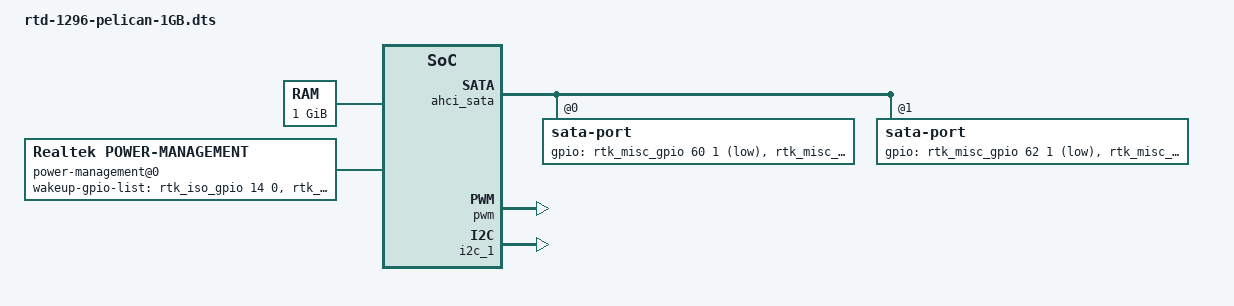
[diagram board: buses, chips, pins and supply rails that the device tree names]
/dts-v1/;
#include <dt-bindings/soc/rtd129x,memory.h>

/* 0x00000000 ~ 0x0002ffff */
/memreserve/ SYS_BOOTCODE_MEMBASE SYS_BOOTCODE_MEMSIZE;
/* 0x0001f000 ~ 0x0001ffff */
/memreserve/ RPC_COMM_PHYS RPC_COMM_SIZE;
/* 0x01b00000 ~ 0x01efffff for ACPU FIRMWARE */
/memreserve/ ACPU_FIREWARE_PHYS ACPU_FIREWARE_SIZE;
/* 0x01ffe000 ~ 0x02001fff */
/memreserve/ RPC_RINGBUF_PHYS	 RPC_RINGBUF_SIZE;
/* 0x02200000 ~ 0x025fffff */
/memreserve/ ROOTFS_NORMAL_START ROOTFS_NORMAL_SIZE;
/* 0x02600000 ~ 0x031fffff */
/memreserve/ ION_AUDIO_HEAP_PHYS ION_AUDIO_HEAP_SIZE;
/* 0x03200000 ~ 0x0e9fffff */
/memreserve/ ION_MEDIA_HEAP_PHYS1  ION_MEDIA_HEAP_SIZE1;
/* 0x10000000 ~ 0x10013fff */
/memreserve/ ACPU_IDMEM_PHYS ACPU_IDMEM_SIZE;
/* 0x11000000 ~ 0x181fffff */
/memreserve/ ION_MEDIA_HEAP_PHYS2 ION_MEDIA_HEAP_SIZE2;
/* 0x22000000 ~ 0x00200000 */
/memreserve/ PSTORE_MEM_PHYS PSTORE_MEM_SIZE;

#include "rtd-1296-saola-common.dtsi"

/ {
	chosen {
		rootfstype = "debian";
		linux,initrd-start = <ROOTFS_NORMAL_START>;
		linux,initrd-end = <ROOTFS_NORMAL_END>;
		bootargs = "earlycon=uart8250,mmio32,0x98007800 console=ttyS0,115200 init=/init androidboot.hardware=kylin androidboot.storage=emmc loglevel=4";
	};

	/*
	 * NOTE:
	 * <flag size base>
	 * flag: reserved
	 * size: unit is byte
	 * base: unit is byte
	 *
	 * Array size not over 8;
	 * You may change the max array size in KConfig,
	 * max CMA array size is CONFIG_CMA_AREAS+1.
	 *
	 * If cma-region-enable is enabled<1>,
	 * kernel driver will use cma-region-info to initial CMA memory.
	 *
	 * If cma-region-enable is disabled<0>,
	 * kernel driver will use cma= to initial CMA memory.
	 *
	 * if both setting is loaded, cma-region-info had higher priority.
	 */
	chosen {
		cma-region-enable = <1>;
		cma-region-info = <0x00000000 0x02000000 0x20000000>;
		/*cma-region-info = <0x00000000 0x01000000 0x12c00000>,
			<0x00000000 0x12c00000 0x20000000>;*/
	};

	memory@0 {
		device_type = "memory";
		reg = <0 0x40000000>; /* 1024 MB */
	};

	firmware {
        android {
            compatible = "android,firmware";
            fstab {
                compatible = "android,fstab";
                system {
                    compatible = "android,system";
                    dev = "/dev/block/platform/98012000.emmc/by-name/system";
                    type = "ext4";
                    mnt_flags = "ro,noatime";
                    fsmgr_flags = "wait";
                };
                vendor {
                    compatible = "android,vendor";
                    dev = "/dev/block/platform/98012000.emmc/by-name/vendor";
                    type = "ext4";
                    mnt_flags = "ro,noatime";
                    fsmgr_flags = "wait";
                };
            };
        };
		optee {
			compatible = "linaro,optee-tz";
			method = "smc";
		};
	};

	reserved-memory {
		#address-cells = <1>;
		#size-cells = <1>;
		ranges;

		rbus@0 {
			compatible = "rsvmem-remap";
			save_remap_name = "rbus";
			reg = <RBUS_BASE_PHYS RBUS_BASE_SIZE>;
			rtk_rbus_barrier_flag;
		};

		ramoops@0 {
			compatible = "ramoops";
			reg = <0x22000000 0x200000>;
			record-size = <0x00004000>; /* 16 KB */
			console-size = <0x00100000>; /* 1 MB */
			ftrace-size = <0x00004000>; /* 16 KB */
		};

		common@0 {
			compatible = "rsvmem-remap";
			save_remap_name = "common";
			reg = <RPC_COMM_PHYS RPC_COMM_SIZE>;
		};

		ringbuf@0 {
			compatible = "rsvmem-remap";
			save_remap_name = "ringbuf";
			reg = <RPC_RINGBUF_PHYS RPC_RINGBUF_SIZE>;
		};
	};

	rtk,ion {
		rtk,ion-heap@8 { /* Audio */
			compatible = "Realtek,rtk-ion-reserve";
			reg = <8>;
			rtk,memory-reserve = <
				ION_AUDIO_HEAP_PHYS
				ION_AUDIO_HEAP_SIZE
				ION_AUDIO_HEAP_FLAG>;
	};

	rtk,ion-heap@7 { /* TYPE_MEDIA */
		compatible = "Realtek,rtk-ion-reserve";
			reg = <7>;
			rtk,memory-reserve = <
				ION_MEDIA_HEAP_PHYS1
				ION_MEDIA_HEAP_SIZE1
				ION_MEDIA_HEAP_FLAG1
				ION_MEDIA_HEAP_PHYS2
				ION_MEDIA_HEAP_SIZE2
				ION_MEDIA_HEAP_FLAG2>;
		};
	};

	rtk_avcpu {
		compatible = "Realtek,rtk-avcpu";
		#address-cells = <1>;
		#size-cells = <1>;
		ranges;

		crt@0 {
			reg = <0x98000000 0x200000>;
		};

		rpc@0 {
			reg = <RPC_COMM_PHYS RPC_COMM_SIZE>;
		};

		alog {
			sync_lock = <&sb2_lock_avlog>;
			sync_lock_timeout = <500>; /* ms */
			log_check_period = <500>; /* ms */
		};
	};

	pcie@9804E000 {
		status = "disabled";
	};

	pcie2@9803B000 {
		status = "disabled";
	};

	dwc3_drd: rtk_dwc3_drd@98013200 {
		dwc3_type_c: rtk_dwc3_drd_type_c@0 {
			/delete-property/ realtek,rd_ctrl-gpio;	
		};
	};

	rtk_usb_power_manager@0 {
                compatible = "Realtek,usb-manager";

                status = "okay";
                /* For port0 */
                gpio0: gpio0 {
                        realtek,power-gpio = <&rtk_iso_gpio 26 1 0>;
                };
                
		gpio2: gpio2 {
                        realtek,power-gpio = <&rtk_iso_gpio 34 1 0>;
                };
        };

	dwc3_drd_usb3phy: dwc3_drd_usb3phy@0 {
        	phy0 {
                	phy_data_size = <0x30>;
        	        phy_data_addr = /bits/ 8
            		     <0x00   0x01   0x02   0x03   0x04   0x05   0x06   0x07   0x08   0x09   0x0A   0x0B   0x0C   0x0D   0x0E   0x0F
        	              0x10   0x11   0x12   0x13   0x14   0x15   0x16   0x17   0x18   0x19   0x1A   0x1B   0x1C   0x1D   0x1E   0x1F
                              0x20   0x21   0x22   0x23   0x24   0x25   0x26   0x27   0x28   0x29   0x2A   0x2B   0x2C   0x2D   0x2E   0x2F>;
	                phy_data_revA = /bits/ 16											
                  	     <0x4008 0xE046 0x6046 0x2779 0x72F5 0x2AD3 0x000E 0x2E00 0x3591 0x525C 0xA600 0xA904 0xC000 0xEF1C 0x2000 0x0000
                              0x000C 0x4C00 0xFC00 0x0C81 0xDE01 0x0000 0x0000 0x0000 0x0000 0x4004 0x1260 0xFF00 0xCB00 0xA03F 0xC2E0 0x2807
                              0x945A 0x88AA 0x0057 0xAB66 0x0800 0x0000 0x040A 0x01D6 0xF8C2 0x3080 0x3082 0x2078 0xFFFF 0xFFFF 0x0000 0x0040>;
		};
	};

	dwc3_drd_usb2phy: dwc3_drd_usb2phy@0 {
        	phy0 {
	       		phy_data_page0_size = <9>;
        	        phy_data_page0_addr = /bits/ 8 <0xE0 0xE1 0xE2 0xE3 0xE4 0xE5 0xE6 0xE7 0xF5>;
                	phy_data_page0_data = /bits/ 8 <0xE0 0x30 0x3A 0x8D 0x68 0x65 0x91 0x81 0x81>;
               		phy_data_page1_size = <8>;
	                phy_data_page1_addr = /bits/ 8 <0xE0 0xE1 0xE2 0xE3 0xE4 0xE5 0xE6 0xE7>;
        	        phy_data_page1_data = /bits/ 8 <0x25 0xEF 0x60 0x00 0x00 0x0F 0x18 0xE3>;
     	        };
	};

	dwc3_u3host_usb3phy: dwc3_u3host_usb3phy@0 {
               	phy0 {
                	phy_data_size = <0x30>;
                	phy_data_addr = /bits/ 8
          		     <0x00   0x01   0x02   0x03   0x04   0x05   0x06   0x07   0x08   0x09   0x0A   0x0B   0x0C   0x0D   0x0E   0x0F
                              0x10   0x11   0x12   0x13   0x14   0x15   0x16   0x17   0x18   0x19   0x1A   0x1B   0x1C   0x1D   0x1E   0x1F
			      0x20   0x21   0x22   0x23   0x24   0x25   0x26   0x27   0x28   0x29   0x2A   0x2B   0x2C   0x2D   0x2E   0x2F>;
                	phy_data_revA = /bits/ 16
			     <0x4008 0xE046 0x6046 0x2779 0x72F5 0x2AD3 0x000E 0x2E00 0x3591 0x525C 0xA600 0xA904 0xC000 0xEF1C 0x2000 0x0000
                              0x000C 0x4C00 0xFC00 0x0C81 0xDE01 0x0000 0x0000 0x0000 0x0000 0x4004 0x1260 0xFF00 0xCB00 0xA03F 0xC2E0 0x2807
       			      0x9414 0x284A 0x0057 0xAB66 0x0800 0x0000 0x040A 0x01D6 0xF8C2 0x3080 0x3082 0x2078 0xFFFF 0xFFFF 0x0000 0x0040>;
		};
	};

	dwc3_u3host_usb2phy: dwc3_u3host_usb2phy@0 {
        	phy0 {
			phy_data_page0_size = <9>;
	                phy_data_page0_addr = /bits/ 8 <0xE0 0xE1 0xE2 0xE3 0xE4 0xE5 0xE6 0xE7 0xF5>;
        	        phy_data_page0_data = /bits/ 8 <0xE0 0x30 0x3A 0x8D 0x66 0x65 0x91 0x81 0x81>;
                	phy_data_page1_size = <8>;
	                phy_data_page1_addr = /bits/ 8 <0xE0 0xE1 0xE2 0xE3 0xE4 0xE5 0xE6 0xE7>;
        	        phy_data_page1_data = /bits/ 8 <0x25 0xEF 0x60 0x00 0x00 0x0F 0x18 0xE3>;                
        	};
	};

	
	sata_phy: sata_phy@9803FF60 {
                sata-phy@0 {
			phy-param = <0x00001111>, <0x00005111>, <0x00009111>,
                                        <0x336a0511>, <0x336a4511>, <0x336a8511>,
                                        <0xE0700111>, <0xE05C4111>, <0xE04A8111>,
                                        <0x00150611>, <0x00154611>, <0x00158611>,
                                        <0xC6000A11>, <0xC6004A11>, <0xC6008A11>,
                                        <0x70000211>, <0x70004211>, <0x70008211>,
                                        <0xC6600A11>, <0xC6604A11>, <0xC6608A11>,
                                        <0x20041911>, <0x20045911>, <0x20049911>,
                                        <0x94aa2011>, <0x94aa6011>, <0x94aaa011>,
                                        <0x17171511>, <0x17175511>, <0x17179511>,
                                        <0x07701611>, <0x07705611>, <0x07709611>,
                                        <0x00002a11>, <0x00006a11>, <0x0000aa11>,
                                        <0x27710311>, <0x27684311>, <0x27648311>,
                                        <0x29001011>, <0x29005011>, <0x29009011>,
                                        <0xc0000C11>, <0xc0004C11>, <0xc0008C11>,
                                        <0x00271711>, <0x00275711>, <0x00279711>;

			tx-driving-tbl = // user can define tx driving here //
                                        <0x94a72011>, <0x94a76011>, <0x94a7a011>,
                                        <0x387a2111>, <0x387a6111>, <0x387aa111>;	
		
			rx-sense-tbl = <0x72100911>, <0x72104911>, <0x72108911>,
			     	       <0x27750311>, <0x276e4311>, <0x276c8311>;
		};
		sata-phy@1 {
			phy-param = <0x00001111>, <0x00005111>, <0x00009111>,
                                        <0x336a0511>, <0x336a4511>, <0x336a8511>,
                                        <0xE0700111>, <0xE05C4111>, <0xE04A8111>,
                                        <0x00150611>, <0x00154611>, <0x00158611>,
                                        <0xC6000A11>, <0xC6004A11>, <0xC6008A11>,
                                        <0x70000211>, <0x70004211>, <0x70008211>,
                                        <0xC6600A11>, <0xC6604A11>, <0xC6608A11>,
                                        <0x20041911>, <0x20045911>, <0x20049911>,
                                        <0x94aa2011>, <0x94aa6011>, <0x94aaa011>,
                                        <0x17171511>, <0x17175511>, <0x17179511>,
                                        <0x07701611>, <0x07705611>, <0x07709611>,
                                        <0x00002a11>, <0x00006a11>, <0x0000aa11>,
                                        <0x27710311>, <0x27684311>, <0x27648311>,
                                        <0x29001011>, <0x29005011>, <0x29009011>,
                                        <0xc0000C11>, <0xc0004C11>, <0xc0008C11>,
                                        <0x00271711>, <0x00275711>, <0x00279711>;

			tx-driving-tbl = // user can define tx driving here //
                                        <0x94a72011>, <0x94a76011>, <0x94a7a011>,
                                        <0x587a2111>, <0x587a6111>, <0x587aa111>;

			rx-sense-tbl = <0x72100911>, <0x72104911>, <0x72108911>,
		          	       <0x27750311>, <0x276e4311>, <0x276c8311>;
		};
	};	
	
	ahci_sata: sata@9803F000 {
                sata-port@0 {
                       gpios = <&rtk_misc_gpio 60 1 1>, <&rtk_misc_gpio 61 0 1>;
                };
                sata-port@1 {
                       gpios = <&rtk_misc_gpio 62 1 1>, <&rtk_misc_gpio 63 0 1>;
                };
        };

	pwm: pwm@980070D0 {
       		pinctrl-names = "default";
                pinctrl-0 = <&pwm3_1_pins>;
	 	status = "okay";
         	/* SYS LED */
         	pwm_0 {
               		duty_rate=<10>;
               		enable = <1>;
        	};
        	/* FAN PWM */
        	pwm_3 {
              		duty_rate=<20>;
              		enable = <1>;
        	};
    	};
	
	rtk_fan: rtk_fan@9801BC00 {
                pwms = <&pwm 3 37878>; // (1) pwm node (2) pwm id (3) out period_ns (1/26400 ns)
		fan_init_speed=<2>;  // set max		
        	status = "okay";
	};
	
 	power-management@0  {
                compatible = "Realtek,power-management";
                wakeup-gpio-list = <&rtk_iso_gpio 14 0 0>,
                        <&rtk_iso_gpio 22 0 0>;
                wakeup-gpio-enable = <0>, <1>;
                wakeup-gpio-activity =<1>, <0>;
        };
	
	i2c_1: i2c@0x98007C00 {
               status = "okay";
        };

	nic: gmac@98016000 {
	       led-cfg = <0x804F>;
	};	
};
